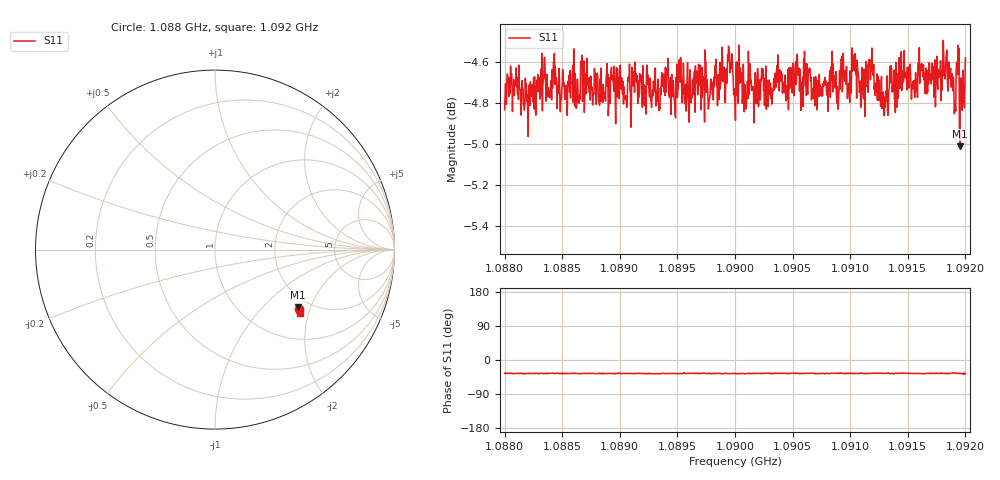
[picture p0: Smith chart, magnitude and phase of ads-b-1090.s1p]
! Calibrated averaged scanner-service zoom
# Hz S RI R 50
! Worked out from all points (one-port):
!   1001 points, 1.088 GHz to 1.092 GHz, reference 50 ohm
!   lowest |S11| = -5.0 dB at 1.09195 GHz (marker M1), VSWR 3.56, Z = 86.5 - j81.5 ohm
!   |S11| at or under -10 dB: nowhere
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1.088e9  0.4694 -0.3288
1.08804e9  0.4764 -0.3336
1.088184e9  0.4697 -0.3373
1.088432e9  0.4831 -0.3414
1.0885e9  0.4744 -0.335
1.089e9  0.4773 -0.3334
1.089332e9  0.4741 -0.3393
1.089376e9  0.4739 -0.3394
1.0895e9  0.4665 -0.3397
1.089716e9  0.4818 -0.335
1.089956e9  0.475 -0.3416
1.09e9  0.4654 -0.3391
1.0905e9  0.4781 -0.3321
1.090716e9  0.4726 -0.3406
1.09088e9  0.4721 -0.3339
1.091e9  0.4785 -0.3379
1.091052e9  0.4777 -0.342
1.091096e9  0.4709 -0.3291
1.091156e9  0.4726 -0.3342
1.091316e9  0.474 -0.3273
1.091364e9  0.4706 -0.337
1.091412e9  0.475 -0.3383
1.0915e9  0.4724 -0.3394
1.091652e9  0.4716 -0.3396
1.091824e9  0.4718 -0.3426
1.091896e9  0.4804 -0.3317
1.091952e9  0.4598 -0.3224
1.092e9  0.4745 -0.3507
